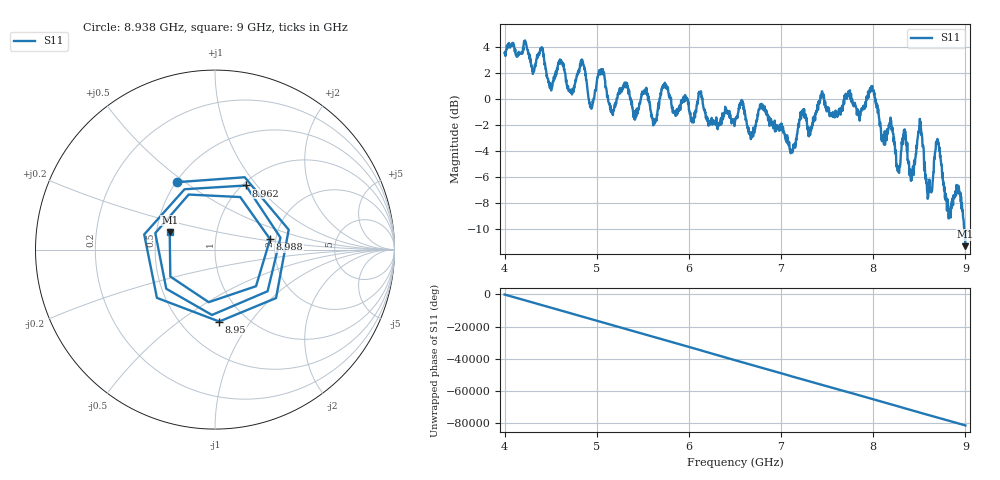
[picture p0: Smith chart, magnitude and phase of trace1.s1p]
! Created with skrf 1.8.0 (http://scikit-rf.org).
# Hz S RI R 50.0
!freq ReS11 ImS11
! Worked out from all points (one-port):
!   1601 points, 4 GHz to 9 GHz, reference 50 ohm
!   lowest |S11| = -11.4 dB at 9 GHz (marker M1), VSWR 1.74, Z = 29.4 + j6.2 ohm
!   |S11| at or under -10 dB: 8.986742 GHz to end of sweep
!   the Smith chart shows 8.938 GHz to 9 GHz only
!   S11 on the Smith chart (normalised r, x): 8.938 GHz: 0.51, +0.47; 8.95 GHz: 0.75, -0.72; 8.962 GHz: 1.04, +0.88; 8.988 GHz: 1.87, +0.24; 9 GHz: 0.59, +0.12
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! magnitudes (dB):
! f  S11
! 4 GHz  3.5
! 4.5 GHz  1.1
! 4.625 GHz  2.8
! 4.722 GHz  0.5
! 4.844 GHz  3.0
! 4.938 GHz  -0.5
! 5.041 GHz  1.9
! 5.159 GHz  -0.9
! 5.25 GHz  0.8
! 5.875 GHz  -1.1
! 6.5 GHz  -1.7
! 6.797 GHz  -0.4
! 7.125 GHz  -3.9
! 7.228 GHz  -1.0
! 7.75 GHz  0.2
! 7.988 GHz  1.0
! 8.109 GHz  -2.9
! 8.375 GHz  -4.7
! 8.416 GHz  -6.3
! 8.506 GHz  -1.5
! 8.606 GHz  -6.6
! 8.697 GHz  -3.1
! 8.816 GHz  -8.7
! 8.938 GHz  -7.3
! 8.95 GHz  -7.9
! 8.962 GHz  -8.0
! 8.988 GHz  -10.1
! 9 GHz  -11.4
